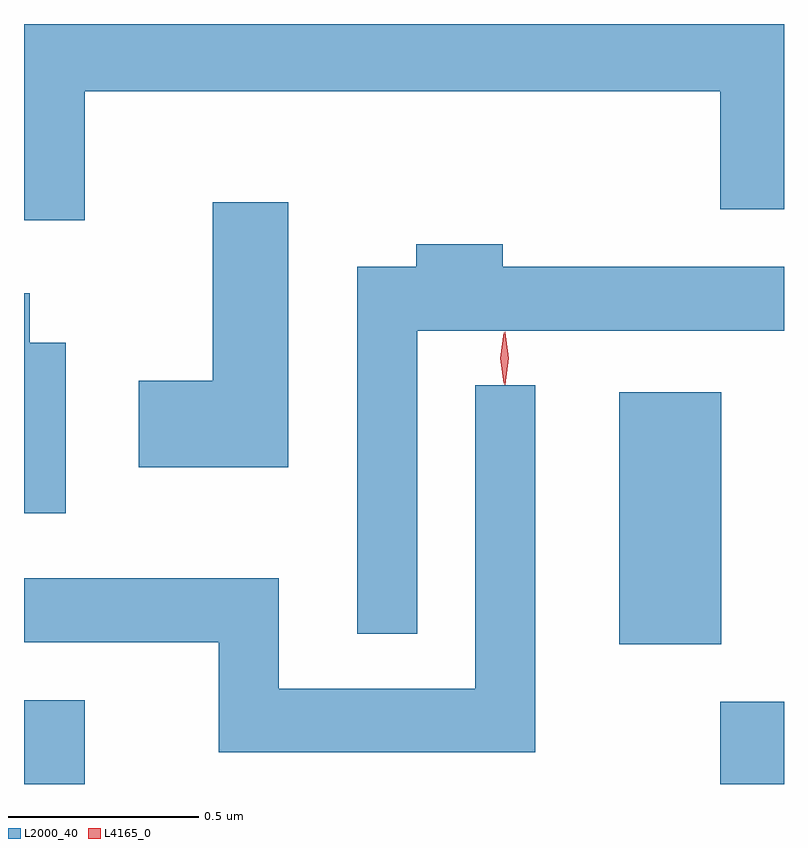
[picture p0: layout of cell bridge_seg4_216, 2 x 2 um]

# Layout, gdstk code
import gdstk
lib = gdstk.Library(unit=1e-6, precision=1e-09)
def R(c, l, rs):  # rectangles x0, y0, x1, y1
    for r in rs: c.add(gdstk.rectangle(r[:2], r[2:], *l))
def P(c, l, *ps):  # polygons
    for p in ps: c.add(gdstk.Polygon(p, *l))
L2000_40 = (2000, 40)
L4165_0 = (4165, 0)

bridge_seg4_216 = lib.new_cell('bridge_seg4_216')
R(bridge_seg4_216, L2000_40, [(983.289,1315.113,983.449,1315.334), (985.121,1315.113,985.289,1315.329), (984.856,1315.481,985.124,1316.144)])
P(bridge_seg4_216, L2000_40, [(983.449,1316.936),(985.121,1316.936),(985.121,1316.626),(985.289,1316.626),(985.289,1317.113),(983.289,1317.113),(983.289,1316.596),(983.449,1316.596)],
  [(983.984,1316.644),(983.786,1316.644),(983.786,1316.174),(983.591,1316.174),(983.591,1315.946),(983.984,1315.946)],
  [(984.324,1316.306),(985.289,1316.306),(985.289,1316.474),(984.549,1316.474),(984.549,1316.534),(984.321,1316.534),(984.321,1316.474),(984.166,1316.474),(984.166,1315.508),(984.324,1315.508)],
  [(983.399,1316.274),(983.304,1316.274),(983.304,1316.404),(983.289,1316.404),(983.289,1315.826),(983.399,1315.826)],
  [(984.634,1316.163),(984.476,1316.163),(984.476,1315.364),(983.959,1315.364),(983.959,1315.654),(983.289,1315.654),(983.289,1315.486),(983.801,1315.486),(983.801,1315.196),(984.634,1315.196)])
P(bridge_seg4_216, L4165_0, [(984.551,1316.167),(984.542,1316.234),(984.551,1316.3),(984.552,1316.301),(984.552,1316.3),(984.562,1316.234),(984.552,1316.167),(984.552,1316.167)],
  [(984.554,1316.164),(984.545,1316.233),(984.554,1316.302),(984.555,1316.303),(984.555,1316.302),(984.565,1316.233),(984.555,1316.164),(984.555,1316.164)])

lib.write_gds('bridge_seg4_216.gds')
